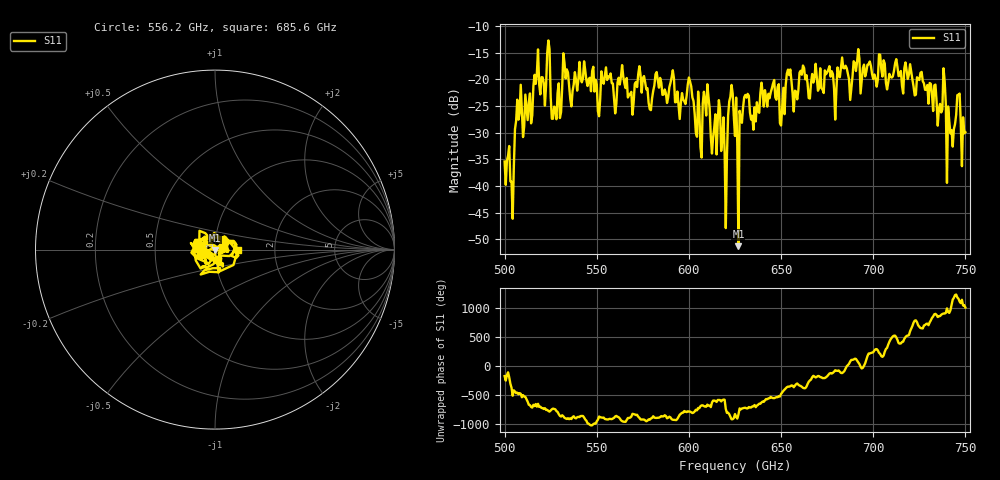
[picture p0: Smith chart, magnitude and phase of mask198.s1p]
!Created with skrf (http://scikit-rf.org).
# GHz S MA R 50.0
!freq magS11 angS11
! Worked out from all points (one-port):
!   401 points, 500 GHz to 750 GHz, reference 50 ohm
!   lowest |S11| = -51.3 dB at 626.9 GHz (marker M1), VSWR 1.01, Z = 49.9 - j0.246 ohm
!   |S11| at or under -10 dB: start of sweep to end of sweep
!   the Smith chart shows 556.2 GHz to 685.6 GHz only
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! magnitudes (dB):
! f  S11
! 500 GHz  -35.4
! 504.4 GHz  -46.1
! 507.5 GHz  -27.6
! 513.8 GHz  -22.7
! 516.9 GHz  -20.9
! 523.8 GHz  -12.7
! 526.9 GHz  -25.1
! 531.2 GHz  -21.4
! 562.5 GHz  -21.0
! 579.4 GHz  -25.8
! 590.6 GHz  -19.6
! 593.8 GHz  -22.3
! 600.6 GHz  -20.4
! 605.6 GHz  -25.6
! 609.4 GHz  -26.8
! 613.8 GHz  -29.0
! 617.5 GHz  -33.4
! 619.4 GHz  -33.7
! 622.5 GHz  -23.3
! 625 GHz  -30.6
! 626.9 GHz  -51.3
! 631.2 GHz  -23.4
! 635 GHz  -29.5
! 656.2 GHz  -22.7
! 687.5 GHz  -23.9
! 718.8 GHz  -19.9
! 741.2 GHz  -27.9
! 750 GHz  -29.9
